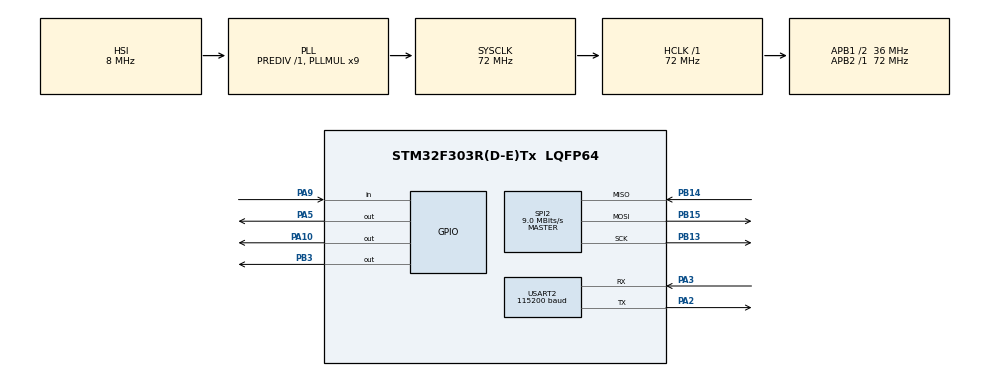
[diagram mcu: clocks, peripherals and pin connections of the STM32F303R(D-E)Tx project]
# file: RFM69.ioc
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Mcu.Family=STM32F3
Mcu.Name=STM32F303R(D-E)Tx
Mcu.Package=LQFP64
NVIC.PriorityGroup=NVIC_PRIORITYGROUP_4
PA10.Signal=GPIO_Output
PA2.Mode=Asynchronous
PA2.Signal=USART2_TX
PA3.Mode=Asynchronous
PA3.Signal=USART2_RX
PA5.Signal=GPIO_Output
PA9.Signal=GPIO_Input
PB13.Mode=Full_Duplex_Master
PB13.Signal=SPI2_SCK
PB14.Mode=Full_Duplex_Master
PB14.Signal=SPI2_MISO
PB15.Mode=Full_Duplex_Master
PB15.Signal=SPI2_MOSI
PB3.Signal=GPIO_Output
ProjectManager.HeapSize=0x200
ProjectManager.StackSize=0x400
ProjectManager.TargetToolchain=Makefile
RCC.AHBFreq_Value=72000000
RCC.APB1CLKDivider=RCC_HCLK_DIV2
RCC.APB1Freq_Value=36000000
RCC.APB1TimFreq_Value=72000000
RCC.APB2Freq_Value=72000000
RCC.APB2TimFreq_Value=72000000
RCC.CortexFreq_Value=72000000
RCC.HCLKFreq_Value=72000000
RCC.HSE_VALUE=8000000
RCC.HSI_VALUE=8000000
RCC.LSE_VALUE=32768
RCC.PLLMUL=RCC_PLL_MUL9
RCC.SYSCLKFreq_VALUE=72000000
RCC.SYSCLKSourceVirtual=RCC_SYSCLKSOURCE_PLLCLK
RCC.USBFreq_Value=72000000
SPI2.BaudRatePrescaler=SPI_BAUDRATEPRESCALER_4
SPI2.CalculateBaudRate=9.0 MBits/s
SPI2.DataSize=SPI_DATASIZE_8BIT
SPI2.Direction=SPI_DIRECTION_2LINES
SPI2.Mode=SPI_MODE_MASTER
SPI2.VirtualType=VM_MASTER
USART2.BaudRate=115200
USART2.VirtualMode-Asynchronous=VM_ASYNC
board=custom

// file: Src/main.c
/**
  ******************************************************************************
  * @file           : main.c
  * @brief          : Main program body
  ******************************************************************************
  ** This notice applies to any and all portions of this file
  * that are not between comment pairs USER CODE BEGIN and
  * USER CODE END. Other portions of this file, whether
  * inserted by the user or by software development tools
  * are owned by their respective copyright owners.
  *
  * COPYRIGHT(c) 2019 STMicroelectronics
  *
  * Redistribution and use in source and binary forms, with or without modification,
  * are permitted provided that the following conditions are met:
  *   1. Redistributions of source code must retain the above copyright notice,
  *      this list of conditions and the following disclaimer.
  *   2. Redistributions in binary form must reproduce the above copyright notice,
  *      this list of conditions and the following disclaimer in the documentation
  *      and/or other materials provided with the distribution.
  *   3. Neither the name of STMicroelectronics nor the names of its contributors
  *      may be used to endorse or promote products derived from this software
  *      without specific prior written permission.
  *
  * THIS SOFTWARE IS PROVIDED BY THE COPYRIGHT HOLDERS AND CONTRIBUTORS "AS IS"
  * AND ANY EXPRESS OR IMPLIED WARRANTIES, INCLUDING, BUT NOT LIMITED TO, THE
  * IMPLIED WARRANTIES OF MERCHANTABILITY AND FITNESS FOR A PARTICULAR PURPOSE ARE
  * DISCLAIMED. IN NO EVENT SHALL THE COPYRIGHT HOLDER OR CONTRIBUTORS BE LIABLE
  * FOR ANY DIRECT, INDIRECT, INCIDENTAL, SPECIAL, EXEMPLARY, OR CONSEQUENTIAL
  * DAMAGES (INCLUDING, BUT NOT LIMITED TO, PROCUREMENT OF SUBSTITUTE GOODS OR
  * SERVICES; LOSS OF USE, DATA, OR PROFITS; OR BUSINESS INTERRUPTION) HOWEVER
  * CAUSED AND ON ANY THEORY OF LIABILITY, WHETHER IN CONTRACT, STRICT LIABILITY,
  * OR TORT (INCLUDING NEGLIGENCE OR OTHERWISE) ARISING IN ANY WAY OUT OF THE USE
  * OF THIS SOFTWARE, EVEN IF ADVISED OF THE POSSIBILITY OF SUCH DAMAGE.
  *
  ******************************************************************************
  */
#include "main.h"
#include "stm32f3xx_hal.h"
#include "spi.h"
#include "usart.h"
#include "gpio.h"

/* USER CODE BEGIN Includes */
#include "RFM69.h"
#include "RFM69_ext.h"
/* USER CODE END Includes */

/* USER CODE BEGIN PV */
/* Private variables ---------------------------------------------------------*/

char log_buffer[150];
uint16_t networkID = 210; // a.k.a. Network Group
uint8_t nodeID = 1;
uint16_t freqBand = 433;
  /* available frequency bands
  #define RF69_315MHZ            315
  #define RF69_433MHZ            433
  #define RF69_868MHZ            868
  #define RF69_915MHZ            915
  see registers.h for even more.
  */
uint8_t toAddress = 1;
bool requestACK = false;

typedef struct {
  unsigned long nodeId; //store this nodeId
  unsigned long uptime; //uptime in ms
  //float         temp;   //temperature maybe?
} Payload;
Payload theData;

/* USER CODE END PV */

void SystemClock_Config(void);

/* USER CODE BEGIN PFP */
/* Private function prototypes -----------------------------------------------*/

/* USER CODE END PFP */

int main(void)
{

  /* MCU Configuration----------------------------------------------------------*/

  /* Reset of all peripherals, Initializes the Flash interface and the Systick. */
  HAL_Init();

  /* Configure the system clock */
  SystemClock_Config();

  /* Initialize all configured peripherals */
  MX_GPIO_Init();
  MX_SPI2_Init();
  MX_USART2_UART_Init();
  /* USER CODE BEGIN 2 */
  HAL_Delay(10);
  RFM69_RST();
  HAL_Delay(10);
  if (RFM69_initialize(freqBand, nodeID, networkID)) {
    sprintf(log_buffer, "RFM69 Initialized. Freq %dMHz. Node %d. Group %d.\r\n", freqBand, nodeID, networkID);
    debug_printf(log_buffer);
  }
  else {
    debug_printf("RFM69 not connected.\r\n");
  }
  RFM69_readAllRegs();
  /* USER CODE END 2 */

  /* Infinite loop */
  /* USER CODE BEGIN WHILE */
  while (1)
  {

        // SAMPLE RECEIVE CODE
        if (RFM69_ReadDIO0Pin()) {
          HAL_GPIO_WritePin(GPIOA, GPIO_PIN_5, 1); // turn on LED
          RFM69_interruptHandler();
        }
        if (RFM69_receiveDone()) {
          debug_printf("Payload Received!\r\n");
          PrintRawBytes();
          PrintStruct();
          PrintByteByByte();
          HAL_GPIO_WritePin(GPIOA, GPIO_PIN_5, 0); // turn off LED
        }
    /*
        // SAMPLE TRANSMIT CODE
        theData.nodeId = 20;
        theData.uptime = HAL_GetTick();
        RFM69_send(toAddress, (const void *)(&theData), sizeof(theData), requestACK);
        HAL_GPIO_WritePin(GPIOA, GPIO_PIN_5, 1); // turn on LED
        HAL_Delay(1);
        HAL_GPIO_WritePin(GPIOA, GPIO_PIN_5, 0); // turn off LED
        HAL_Delay(2000);                         // send every ____ milliseconds.
        debug_printf("Payload Sent!\r\n");
    */
  /* USER CODE END WHILE */

  }

}

void SystemClock_Config(void)
{

  RCC_OscInitTypeDef RCC_OscInitStruct;
  RCC_ClkInitTypeDef RCC_ClkInitStruct;
  RCC_PeriphCLKInitTypeDef PeriphClkInit;

    /**Initializes the CPU, AHB and APB busses clocks
    */
  RCC_OscInitStruct.OscillatorType = RCC_OSCILLATORTYPE_HSI;
  RCC_OscInitStruct.HSIState = RCC_HSI_ON;
  RCC_OscInitStruct.HSICalibrationValue = 16;
  RCC_OscInitStruct.PLL.PLLState = RCC_PLL_ON;
  RCC_OscInitStruct.PLL.PLLSource = RCC_PLLSOURCE_HSI;
  RCC_OscInitStruct.PLL.PLLMUL = RCC_PLL_MUL9;
  RCC_OscInitStruct.PLL.PREDIV = RCC_PREDIV_DIV1;
  if (HAL_RCC_OscConfig(&RCC_OscInitStruct) != HAL_OK)
  {
    _Error_Handler(__FILE__, __LINE__);
  }

    /**Initializes the CPU, AHB and APB busses clocks
    */
  RCC_ClkInitStruct.ClockType = RCC_CLOCKTYPE_HCLK|RCC_CLOCKTYPE_SYSCLK
                              |RCC_CLOCKTYPE_PCLK1|RCC_CLOCKTYPE_PCLK2;
  RCC_ClkInitStruct.SYSCLKSource = RCC_SYSCLKSOURCE_PLLCLK;
  RCC_ClkInitStruct.AHBCLKDivider = RCC_SYSCLK_DIV1;
  RCC_ClkInitStruct.APB1CLKDivider = RCC_HCLK_DIV2;
  RCC_ClkInitStruct.APB2CLKDivider = RCC_HCLK_DIV1;

  if (HAL_RCC_ClockConfig(&RCC_ClkInitStruct, FLASH_LATENCY_2) != HAL_OK)
  {
    _Error_Handler(__FILE__, __LINE__);
  }

  PeriphClkInit.PeriphClockSelection = RCC_PERIPHCLK_USART2;
  PeriphClkInit.Usart2ClockSelection = RCC_USART2CLKSOURCE_PCLK1;
  if (HAL_RCCEx_PeriphCLKConfig(&PeriphClkInit) != HAL_OK)
  {
    _Error_Handler(__FILE__, __LINE__);
  }

    /**Configure the Systick interrupt time
    */
  HAL_SYSTICK_Config(HAL_RCC_GetHCLKFreq()/1000);

    /**Configure the Systick
    */
  HAL_SYSTICK_CLKSourceConfig(SYSTICK_CLKSOURCE_HCLK);

  /* SysTick_IRQn interrupt configuration */
  HAL_NVIC_SetPriority(SysTick_IRQn, 0, 0);
}

void _Error_Handler(char *file, int line)
{
  while(1)
  {
  }
}

/************************ (C) COPYRIGHT STMicroelectronics *****END OF FILE****/
